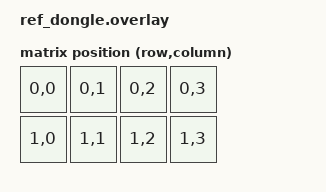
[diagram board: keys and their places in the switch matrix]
/*
 * Minimal dongle shield, used only by CI.
 *
 * A dongle is a split central with no keys of its own, and that is all this
 * describes.
 *
 * The 2x4 matrix is a fiction. ZMK requires a transform and a keymap of
 * matching size; eight positions satisfy that and leave room to bind this
 * module's behaviours as they arrive — every one of them is bound, so CI fails
 * if a behaviour stops resolving rather than only if the widgets stop
 * compiling.
 */

#include <dt-bindings/zmk/matrix_transform.h>

/ {
    chosen {
        zmk,kscan = &mock_kscan0;
        /* Defining the transform is not enough — ZMK resolves
         * zmk_matrix_transform_default through this chosen entry, and the link
         * fails on an undefined reference without it. */
        zmk,matrix-transform = &keymap_transform_0;

        /* The palette a block starts in. It lives HERE, in the consumer's
         * dongle-only shield, because the theme nodes come from the module's
         * display overlay: a reference from the shared keymap would fail every
         * split half with "undefined node label", and the peripheral target
         * next door exists to prove that stays true. */
        zmk,focus-theme = &focus_violet;
    };

    keymap_transform_0: keymap_transform_0 {
        compatible = "zmk,matrix-transform";
        columns = <4>;
        rows = <2>;
        map = <
RC(0,0) RC(0,1) RC(0,2) RC(0,3)
RC(1,0) RC(1,1) RC(1,2) RC(1,3)
        >;
    };

    mock_kscan0: mock_kscan0 {
        compatible = "zmk,kscan-mock";
        columns = <0>;
        rows = <0>;
        events = <0>;
    };
};
